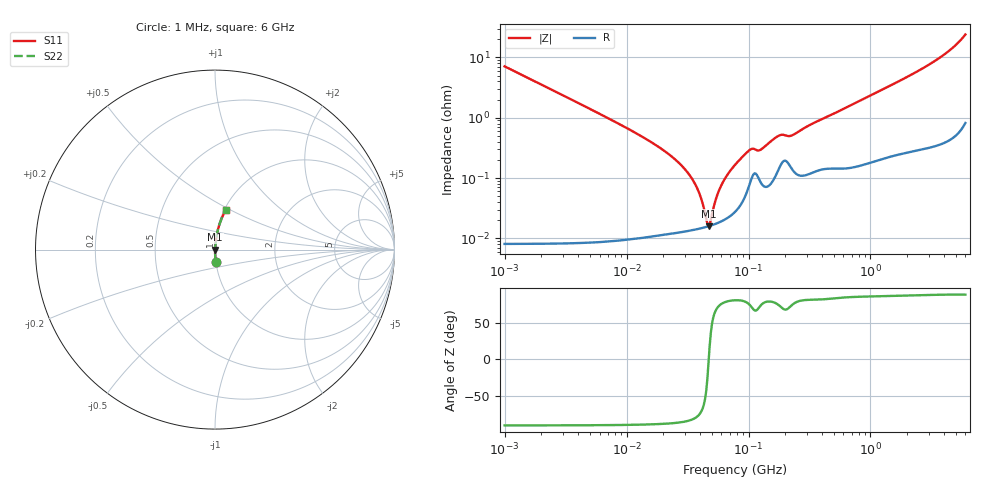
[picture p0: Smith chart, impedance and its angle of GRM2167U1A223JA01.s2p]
!Murata Part Number: GRM2167U1A223JA01
!These Parameters are Measured in Series Mode Connection
!Data Generated on Mar 30, 2021
!  o--ll--o
!Port1  Port2
!  o------o
!Operation Temp=25[degC], DC Bias Voltage=0[V]
!Freq. Start=1000[kHz] Stop=6[GHz] 401[Steps]
# Hz S RI R 50
!Freq.(Hz) S11(Real) S11(Imag) S21(Real) S21(Imag) S12(Real) S12(Imag) S22(Real) S22(Imag)
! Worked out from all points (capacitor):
!   401 points, 1 MHz to 6 GHz, reference 50 ohm
!   read as one part in series: C = 22.4 nF near 1.044 MHz
!   lowest |Z| = 16 mohm at 46.97 MHz (marker M1)
!   series resonance near 47.19 MHz, so ESL is about 510 pH
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1000000  0.00509 -0.0706  0.9949 0.0706  0.9949 0.0706  0.00509 -0.0706
4293785  0.000353 -0.0164  0.9996 0.0164  0.9996 0.0164  0.000353 -0.0164
1.843659e7  0.000122 -0.00325  0.9999 0.00325  0.9999 0.00325  0.000122 -0.00325
2.668407e7  0.000128 -0.00181  0.9999 0.00181  0.9999 0.00181  0.000128 -0.00181
3.389622e7  0.000137 -0.00101  0.9999 0.00101  0.9999 0.00101  0.000137 -0.00101
3.947016e7  0.000146 -0.000542  0.9999 0.000542  0.9999 0.000542  0.000146 -0.000542
4.497189e7  0.000155 -0.000146  0.9998 0.000146  0.9998 0.000146  0.000155 -0.000146
4.697123e7  0.000159 -1.38e-05  0.9998 1.38e-05  0.9998 1.38e-05  0.000159 -1.38e-05
4.905945e7  0.000164 0.000118  0.9998 -0.000118  0.9998 -0.000118  0.000164 0.000118
5.469524e7  0.000177 0.000453  0.9998 -0.000453  0.9998 -0.000453  0.000177 0.000453
5.966657e7  0.000192 0.000727  0.9998 -0.000727  0.9998 -0.000727  0.000192 0.000727
6.652088e7  0.000217 0.00109  0.9998 -0.00109  0.9998 -0.00109  0.000217 0.00109
7.745967e7  0.000278 0.00163  0.9997 -0.00163  0.9997 -0.00163  0.000278 0.00163
1.027698e8  0.000831 0.00282  0.9992 -0.00282  0.9992 -0.00282  0.000831 0.00282
1.249896e8  0.000876 0.0028  0.9991 -0.0028  0.9991 -0.0028  0.000876 0.0028
1.770109e8  0.00143 0.00482  0.9986 -0.00482  0.9986 -0.00482  0.00143 0.00482
2.248532e8  0.00148 0.00483  0.9985 -0.00483  0.9985 -0.00483  0.00148 0.00483
3.325952e8  0.00128 0.00783  0.9987 -0.00783  0.9987 -0.00783  0.00128 0.00783
1.428092e9  0.00334 0.0332  0.9967 -0.0332  0.9967 -0.0332  0.00334 0.0332
3.483508e9  0.0115 0.0896  0.9885 -0.0896  0.9885 -0.0896  0.0115 0.0896
4.621753e9  0.023 0.1348  0.977 -0.1348  0.977 -0.1348  0.023 0.1348
6e9  0.0609 0.2227  0.9391 -0.2227  0.9391 -0.2227  0.0609 0.2227
